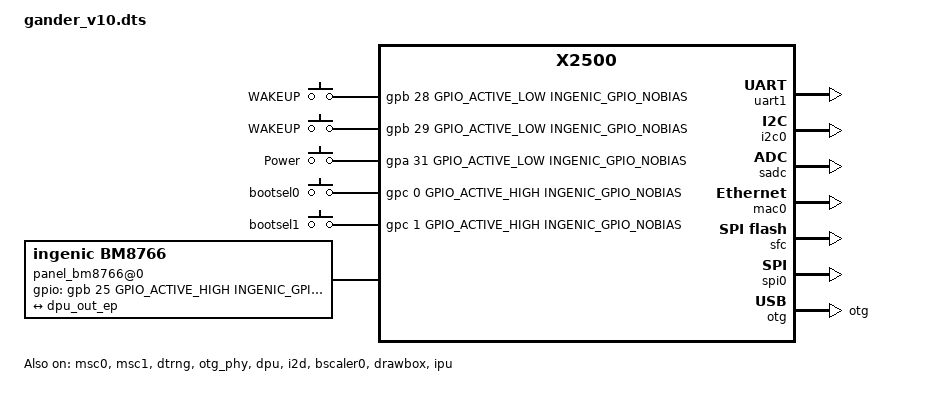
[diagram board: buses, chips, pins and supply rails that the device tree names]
/dts-v1/;

#include <dt-bindings/input/input.h>
#include "x2500.dtsi"
#include <dt-bindings/interrupt-controller/irq.h>
#include <generated/autoconf.h>


#ifdef CONFIG_INGENIC_ISP_V2_CAMERA_IMX327
#include "gander_cameras/imx327.dtsi"
#endif

/ {
	compatible = "ingenic,gander", "ingenic,x2500";
};

&uart0 {
	status = "disable";
};

&uart1 {
	status = "okay";
	pinctrl-names = "default";
	pinctrl-0 = <&uart1_pb>;
};

&uart2 {
	status = "disable";
};

&i2c0 {
	pinctrl-0 = <&i2c0_pa>;
	pinctrl-names = "default";
	status = "okay";
};

&sadc {
	status = "okay";
};


&i2c2 {
	pinctrl-0 = <&i2c2_pc>;
	pinctrl-names = "default";
	status = "disable";
};


&cpufreq {
	status = "disable";
	operating-points = <
		/*KHZ uV */
		1200000	900000
		750000	900000
		600000	900000
		500000	900000
		400000	900000
		375000	900000
		300000	900000
		200000	900000
			>;

};


&pdma {
	status = "okay";
};

&msc0 {
	status = "okay";
	pinctrl-names = "default";
	pinctrl-0 = <&msc0_pb>;
	/*mmc-hs200-1_8v;*/
	cap-mmc-highspeed;
	max-frequency = <25000000>;
	bus-width = <4>;
	voltage-ranges = <1800 3300>;
	/* cd-inverted; */
	cd-gpios = <&gpc 6 GPIO_ACTIVE_LOW INGENIC_GPIO_NOBIAS>;
	/* special property */
	ingenic,rst-gpios = <0>;
	ingenic,pwr-gpios = <&gpd 22 GPIO_ACTIVE_LOW INGENIC_GPIO_NOBIAS>;
};

&msc1 {
	status = "okay";
	pinctrl-names = "default";
	mmc-hs200-1_8v;
	cap-mmc-highspeed;
	max-frequency = <200000000>;
	bus-width = <4>;
	voltage-ranges = <1800 3300>;
	non-removable;
	cap-mmc-hw-reset;

	/* special property */
	ingenic,wp-gpios = <0>;
	ingenic,rst-gpios = <&gpc 22 GPIO_ACTIVE_LOW INGENIC_GPIO_NOBIAS>;
	pinctrl-0 = <&msc1_pc>;
};

&mac0 {
	pinctrl-names = "default", "reset";
	pinctrl-0 = <&mac0_rmii_p0_normal>, <&mac0_rmii_p1_normal>;
	pinctrl-1 = <&mac0_rmii_p0_rst>, <&mac0_rmii_p1_normal>;
	status = "okay";
	ingenic,rst-gpio = <&gpc 7 GPIO_ACTIVE_LOW INGENIC_GPIO_NOBIAS>;
	ingenic,rst-ms = <10>;
	ingenic,mac-mode = <RMII>;
	ingenic,mode-reg = <0xb0000054>;
	ingenic,phy-clk-freq = <50000000>;
};

&sfc {
	status = "okay";
	pinctrl-names = "default";
	pinctrl-0 = <&sfc_pa>;
	ingenic,sfc-init-frequency = <20000000>;
	ingenic,sfc-max-frequency = <50000000>;
	ingenic,use_ofpart_info      = /bits/ 8 <0>;
	ingenic,spiflash_param_offset = <0>;
};

&spi0 {
	status = "okay";
	pinctrl-names = "default";
	pinctrl-0 = <&spi0_pc>;

	spi-max-frequency = <48000000>;
	num-cs = <2>;
	cs-gpios = <0>, <0>;
	ingenic,chnl = <0>;
	ingenic,allow_cs_same = <1>;
	ingenic,bus_num = <0>;
	ingenic,has_dma_support = <1>;
};

&dtrng {
	status = "okay";
};

&otg {
	g-use-dma;
	dr_mode = "otg";
	status = "okay";
};

&otg_phy {
	dr_mode = "otg";
	compatible = "ingenic,innophy-x2500", "syscon";
	ingenic,drvvbus-gpio = <&gpb 27 GPIO_ACTIVE_HIGH INGENIC_GPIO_NOBIAS>;
	status = "okay";
};

/ {

	extclk: extclk {
		clock-frequency = <24000000>;
	};

	gpio_keys: gpio_keys {
		   compatible = "gpio-keys";

		   wakeup {
			   label = "WAKEUP";
			   linux,code = <KEY_WAKEUP>;
			   gpios = <&gpb 28 GPIO_ACTIVE_LOW INGENIC_GPIO_NOBIAS>;
			   gpio-key,wakeup;
		   };

		   wakeup1 {
			   label = "WAKEUP";
			   linux,code = <KEY_WAKEUP>;
			   gpios = <&gpb 29 GPIO_ACTIVE_LOW INGENIC_GPIO_NOBIAS>;
			   gpio-key,wakeup;
		   };

		   power {
			   label = "Power";
			   linux,code = <KEY_POWER>;
			   gpios = <&gpa 31 GPIO_ACTIVE_LOW INGENIC_GPIO_NOBIAS>;
			   gpio-key,wakeup;
		   };
            bootsel0 {
                label = "bootsel0";
                linux,code = <KEY_HOME>;
                gpios = <&gpc 0 GPIO_ACTIVE_HIGH INGENIC_GPIO_NOBIAS>;
            };

            bootsel1 {
                label = "bootsel1";
                linux,code = <KEY_BACK>;
                gpios = <&gpc 1 GPIO_ACTIVE_HIGH INGENIC_GPIO_NOBIAS>;
            };

	   };
};

&el150 {
	status = "disable";
};

&dpu {
	status = "okay";
	ingenic,disable-rdma-fb = <1>;
	ingenic,layer-exported = <1 1 0 0>;
	ingenic,layer-frames   = <2 2 2 2>;
	ingenic,layer-framesize = <800 480>, <800 480>, <400 240>, <400 240>;   /*Max framesize for each layer.*/
	layer,color_mode	= <0 0 0 0>;					/*src fmt,*/
	layer,src-size       	= <800 480>, <800 480>, <400 240>, <400 240>;	/*Layer src size should smaller than framesize*/
	layer,target-size	= <800 480>, <800 480>, <160 240>, <240 200>;	/*Target Size should smaller than src_size.*/
	layer,target-pos	= <0 0>, <0 0>, <340 480>, <100 400>;	/*target pos , the start point of the target panel.*/
	layer,enable		= <1 1 0 0>;					/*layer enabled or disabled.*/
	ingenic,logo-pan-layer	= <0>;						/*on which layer should init logo pan on.*/
	port {
		dpu_out_ep: endpoint {
			remote-endpoint = <&panel_bm8766_ep>;
	    };
	};
};

/ {
	display-dpi {
		compatible = "simple-bus";
		#interrupt-cells = <1>;
		#address-cells = <1>;
		#size-cells = <1>;
		ranges = <>;
		panel_bm8766@0 {
			compatible = "ingenic,bm8766";
			status = "okay";
			pinctrl-names = "default";
			pinctrl-0 = <&tft_lcd_pd>;
			gpios = <&gpb 25 GPIO_ACTIVE_HIGH INGENIC_GPIO_NOBIAS>;
			port {
				panel_bm8766_ep: endpoint {
					remote-endpoint = <&dpu_out_ep>;
				};
			};
		};

	};
};

&soc_nna{
	status = "okay";
};

&i2d{
	status = "okay";
};

&bscaler0{
	status = "okay";
};

&drawbox{
	status = "okay";
};

&ipu{
	status = "okay";
};
